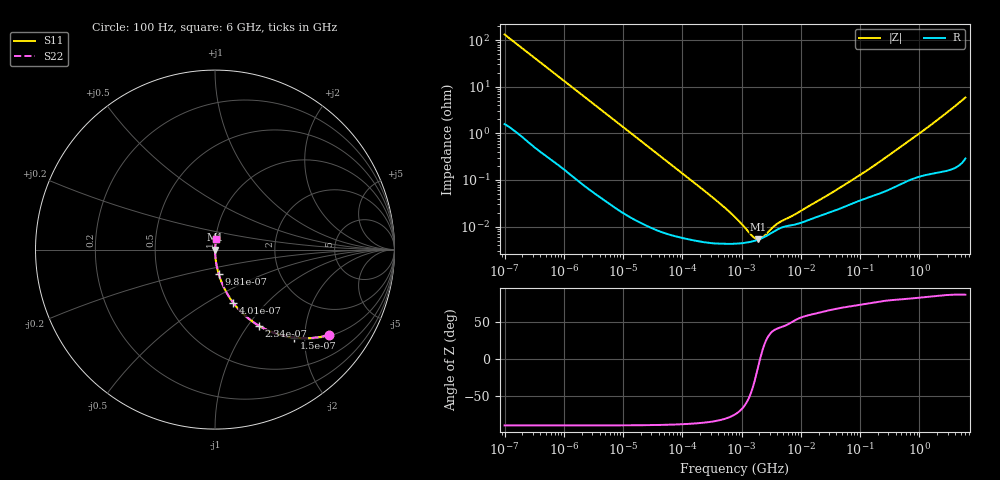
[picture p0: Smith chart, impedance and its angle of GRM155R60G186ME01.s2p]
!Murata Part Number: GRM155R60G186ME01
!These Parameters are Measured in Series Mode Connection
!Data Generated on Mar 30, 2021
!  o--ll--o
!Port1  Port2
!  o------o
!Operation Temp=25[degC], DC Bias Voltage=0[V]
!Freq. Start=100[Hz] Stop=6[GHz] 401[Steps]
# Hz S RI R 50
!Freq.(Hz) S11(Real) S11(Imag) S21(Real) S21(Imag) S12(Real) S12(Imag) S22(Real) S22(Imag)
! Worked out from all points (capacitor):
!   401 points, 100 Hz to 6 GHz, reference 50 ohm
!   read as one part in series: C = 12 uF near 109 Hz
!   lowest |Z| = 5.34 mohm at 1.897 MHz (marker M1)
!   series resonance near 2.047 MHz, so ESL is about 500 pH
!   S11 on the Smith chart (normalised r, x): 100 Hz: 1.03, -2.63; 150 Hz: 1.02, -1.77; 234 Hz: 1.01, -1.13; 401 Hz: 1.01, -0.67; 981 Hz: 1.00, -0.27; 6 GHz: 1.01, +0.12
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100  0.6329 -0.4761  0.3671 0.4761  0.3671 0.4761  0.6329 -0.4761
150  0.4395 -0.4901  0.5605 0.4901  0.5605 0.4901  0.4395 -0.4901
234  0.2462 -0.4247  0.7538 0.4247  0.7538 0.4247  0.2462 -0.4247
306  0.1618 -0.3623  0.8382 0.3623  0.8382 0.3623  0.1618 -0.3623
401  0.1026 -0.2975  0.8974 0.2975  0.8974 0.2975  0.1026 -0.2975
573  0.054 -0.22  0.946 0.22  0.946 0.22  0.054 -0.22
981  0.02 -0.1339  0.98 0.1339  0.98 0.1339  0.02 -0.1339
2008  0.00532 -0.0668  0.9947 0.0668  0.9947 0.0668  0.00532 -0.0668
6433  0.000732 -0.0212  0.9993 0.0212  0.9993 0.0212  0.000732 -0.0212
40335  9.19e-05 -0.00342  0.9999 0.00342  0.9999 0.00342  9.19e-05 -0.00342
316350  4.44e-05 -0.000433  1 0.000433  1 0.000433  4.44e-05 -0.000433
774597  4.3e-05 -0.000155  1 0.000155  1 0.000155  4.3e-05 -0.000155
1013323  4.42e-05 -0.000104  1 0.000104  1 0.000104  4.42e-05 -0.000104
1159002  4.51e-05 -8.12e-05  1 8.12e-05  1 8.12e-05  4.51e-05 -8.12e-05
1896632  5.25e-05 -1e-05  0.9999 1e-05  0.9999 1e-05  5.25e-05 -1e-05
3103719  7.15e-05 5.09e-05  0.9999 -5.09e-05  0.9999 -5.09e-05  7.15e-05 5.09e-05
3549919  7.93e-05 6.51e-05  0.9999 -6.51e-05  0.9999 -6.51e-05  7.93e-05 6.51e-05
1.555665e7  0.000148 0.000264  0.9999 -0.000264  0.9999 -0.000264  0.000148 0.000264
8.918374e7  0.000345 0.00112  0.9997 -0.00112  0.9997 -0.00112  0.000345 0.00112
3.124326e8  0.000636 0.00339  0.9994 -0.00339  0.9994 -0.00339  0.000636 0.00339
1.369159e9  0.00147 0.0132  0.9985 -0.0132  0.9985 -0.0132  0.00147 0.0132
6e9  0.00628 0.0581  0.9937 -0.0581  0.9937 -0.0581  0.00628 0.0581
